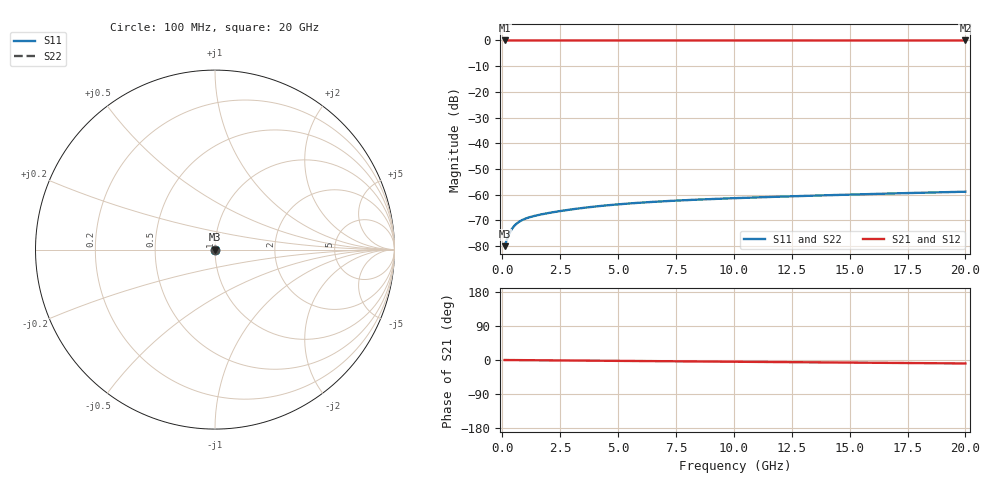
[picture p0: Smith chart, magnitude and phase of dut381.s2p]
! Touchstone file exported from HFSS 2026.1.0
!  File:  C:/ffzhzh/LocalFiles/Ansys_Project_Files/temp_train_TSV_381_1783019792_46388.aedt
!  Generated:  03:18:03 AM Jul  3, 2026
!  Design:  TSV
!  Project:  temp_train_TSV_381_1783019792_46388
! Variables:
!  h_bsmrdl = 2um
!  h_ox = 20um
!  h_rdl = 5um
!  h_sub = 90.8um
!  h_tmrdl = 5um
!  h_tsv = 90.8um
!  h_via = 3um
!  l_bsmrdl = 300um
!  l_sub = 427.2um
!  l_tmrdl = 200um
!  m_sub = 200um
!  pitch = 54.44um
!  r_tsv = 13.6um
!  s_tmrdl = 10um
!  w_bsmrdl = 18um
!  w_sub = 500um
!  w_tmrdl = 12um
!  x_tsv_center1 = 206um
!  x_tsv_center2 = 524um
!  x_tsv_center3 = 736um
!  x_tsv_center4 = 1054um
!  x_tsv_center5 = 1266um
!  x_tsv_center6 = 1584um
# GHz S MA R 50.000000
! Terminal data exported
! Port[1] = TSV1_1_T1
! Port[2] = TSV1_1_T2
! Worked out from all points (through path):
!   200 points, 100 MHz to 20 GHz, reference 50 ohm
!   highest |S21| = 0.00 dB at 100 MHz (marker M1); lowest = 0.0 dB at 20 GHz (marker M2)
!   group delay of S21, straight-line fit = 1.26 ps
!   lowest |S11| = -80.1 dB at 100 MHz (marker M3), VSWR 1.00, Z = 50 + j0.00455 ohm
!   |S11| at or under -10 dB: start of sweep to end of sweep
!   |S22| runs from -80.1 to -58.8 dB; largest |S21 - S12| = 2.1e-15
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0.1  9.928e-05 27.3  0.9999 -0.0  0.9999 -0.0  9.928e-05 27.3
! Gamma 0 0 0 0
! Port Impedance 50 0 50 0
0.2  0.000135 39.9  0.9999 -0.1  0.9999 -0.1  0.0001349 39.9
0.3  0.000174 43.9  0.9999 -0.1  0.9999 -0.1  0.000174 43.9
0.4  0.0002101 44.3  0.9999 -0.2  0.9999 -0.2  0.0002102 44.4
0.5  0.0002416 43.3  0.9998 -0.2  0.9998 -0.2  0.0002418 43.4
0.6  0.0002683 42.0  0.9998 -0.3  0.9998 -0.3  0.0002687 42.0
0.7  0.0002909 40.5  0.9998 -0.3  0.9998 -0.3  0.0002914 40.6
0.9  0.0003266 38.0  0.9997 -0.4  0.9997 -0.4  0.0003273 38.1
1.1  0.0003539 36.2  0.9997 -0.5  0.9997 -0.5  0.0003547 36.2
1.3  0.0003763 35.0  0.9997 -0.6  0.9997 -0.6  0.0003771 34.9
1.8  0.0004225 33.2  0.9996 -0.8  0.9996 -0.8  0.0004232 33.2
2.6  0.0004865 31.9  0.9996 -1.2  0.9996 -1.2  0.0004869 31.8
3.5  0.0005524 30.3  0.9995 -1.6  0.9995 -1.6  0.0005526 30.2
4.2  0.000599 28.7  0.9995 -1.9  0.9995 -1.9  0.0005992 28.7
5  0.0006468 26.8  0.9994 -2.3  0.9994 -2.3  0.0006471 26.7
5.9  0.0006941 24.4  0.9994 -2.7  0.9994 -2.7  0.0006945 24.4
6.8  0.0007354 22.1  0.9993 -3.1  0.9993 -3.1  0.0007361 22.1
8.3  0.0007944 18.5  0.9993 -3.8  0.9993 -3.8  0.0007954 18.4
10.1  0.000855 14.3  0.9992 -4.6  0.9992 -4.6  0.0008564 14.3
13.4  0.0009543 7.1  0.9991 -6.1  0.9991 -6.1  0.0009562 7.1
16.7  0.00105 -0.6  0.999 -7.6  0.999 -7.6  0.001053 -0.6
20  0.001139 -9.5  0.9989 -9.1  0.9989 -9.1  0.001144 -9.5
